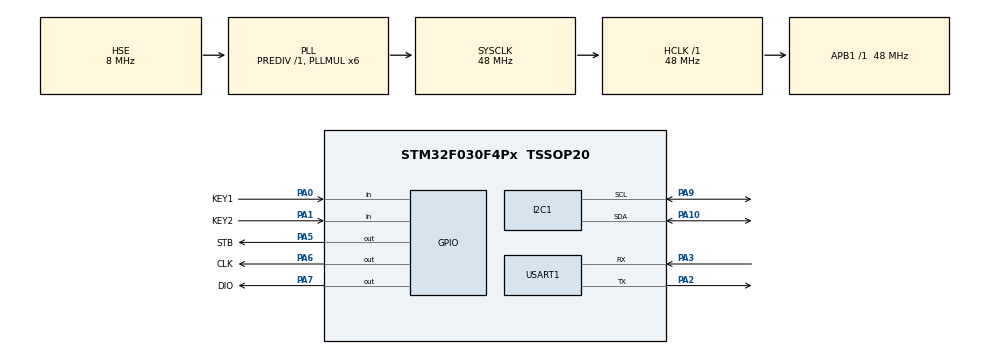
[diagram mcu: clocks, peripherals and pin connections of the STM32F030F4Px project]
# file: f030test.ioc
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Mcu.Family=STM32F0
Mcu.Name=STM32F030F4Px
Mcu.Package=TSSOP20
PA0.GPIO_Label=KEY1
PA0.GPIO_PuPd=GPIO_PULLUP
PA0.Signal=GPIO_Input
PA1.GPIO_Label=KEY2
PA1.GPIO_PuPd=GPIO_PULLUP
PA1.Signal=GPIO_Input
PA10.Mode=I2C
PA10.Signal=I2C1_SDA
PA13.Mode=Serial_Wire
PA13.Signal=SYS_SWDIO
PA14.Mode=Serial_Wire
PA14.Signal=SYS_SWCLK
PA2.Mode=Asynchronous
PA2.Signal=USART1_TX
PA3.Mode=Asynchronous
PA3.Signal=USART1_RX
PA5.GPIO_Label=STB
PA5.Signal=GPIO_Output
PA6.GPIO_Label=CLK
PA6.Signal=GPIO_Output
PA7.GPIO_Label=DIO
PA7.Signal=GPIO_Output
PA9.Mode=I2C
PA9.Signal=I2C1_SCL
PF0-OSC_IN.Mode=HSE-External-Oscillator
PF0-OSC_IN.Signal=RCC_OSC_IN
PF1-OSC_OUT.Mode=HSE-External-Oscillator
PF1-OSC_OUT.Signal=RCC_OSC_OUT
ProjectManager.HeapSize=0x200
ProjectManager.StackSize=0x400
ProjectManager.TargetToolchain=MDK-ARM V5.27
RCC.AHBFreq_Value=48000000
RCC.APB1Freq_Value=48000000
RCC.APB1TimFreq_Value=48000000
RCC.HCLKFreq_Value=48000000
RCC.PLLMUL=RCC_PLL_MUL6
RCC.PLLSourceVirtual=RCC_PLLSOURCE_HSE
RCC.SYSCLKFreq_VALUE=48000000
RCC.SYSCLKSource=RCC_SYSCLKSOURCE_PLLCLK
USART1.VirtualMode-Asynchronous=VM_ASYNC
board=custom

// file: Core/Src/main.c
/* USER CODE BEGIN Header */
/**
  ******************************************************************************
  * @file           : main.c
  * @brief          : Main program body
  ******************************************************************************
  * @attention
  *
  * <h2><center>&copy; Copyright (c) 2021 STMicroelectronics.
  * All rights reserved.</center></h2>
  *
  * This software component is licensed by ST under BSD 3-Clause license,
  * the "License"; You may not use this file except in compliance with the
  * License. You may obtain a copy of the License at:
  *                        opensource.org/licenses/BSD-3-Clause
  *
  ******************************************************************************
  */
/* USER CODE END Header */
#include "main.h"
#include "i2c.h"
#include "usart.h"
#include "gpio.h"

/* USER CODE BEGIN Includes */
#include "stdio.h"
#include "TM1620.h"
#include "multi_button.h"
#include "delay.h"
/* USER CODE END Includes */

/* USER CODE BEGIN PM */
int numb = 0;
/* USER CODE END PM */

/* USER CODE BEGIN PV */
int fputc(int ch, FILE *f)
{
	/* 发送一个字节数据 */
	HAL_UART_Transmit(&huart1,(uint8_t *)&ch,1,0xffff);
	return ch;
}
/* USER CODE END PV */

void SystemClock_Config(void);
/* USER CODE BEGIN PFP */
unsigned char buffer[2];
char array[4];
unsigned char volume = 4;
unsigned char page[3];
/* USER CODE END PFP */

/* USER CODE BEGIN 0 */
void Set_Fre(uint32_t fre)  //88MHz~108MHz  200KHz步进
{
	uint16_t i;
	buffer[0]=0xf0;
	buffer[1]=0x09;
	if(HAL_I2C_Mem_Write(&hi2c1, 0x22, 0x02,I2C_MEMADD_SIZE_8BIT, buffer, 2, 20)==HAL_OK)
	{
	}
//	HAL_Delay(10);
	if((fre>=8700)&&(fre<=10800))
	{
		i = (fre -8700) /10;
		i = (i<<6)|0x10;
		buffer[0]=(i>>8);
		buffer[1]=i&0xff;
		HAL_I2C_Mem_Write(&hi2c1, 0x22, 0x03,I2C_MEMADD_SIZE_8BIT, buffer, 2, 20);
	}
	else
	{
		buffer[0]=0x00;
		buffer[1]=0x10;
		HAL_I2C_Mem_Write(&hi2c1, 0x22, 0x03,I2C_MEMADD_SIZE_8BIT, buffer, 2, 20);
	}

	buffer[0]=0x90;
	buffer[1]=0x80+volume-1;
	if(HAL_I2C_Mem_Write(&hi2c1, 0x22, 0x05,I2C_MEMADD_SIZE_8BIT, buffer, 2, 20)==HAL_OK)
	{

	}
}

void setvolume(unsigned char i)
{
	buffer[0]=0x90;
	buffer[1]=0x80+i-1;
	if(HAL_I2C_Mem_Write(&hi2c1, 0x22, 0x05,I2C_MEMADD_SIZE_8BIT, buffer, 2, 20)==HAL_OK)
	{

	}
}

void seekup()
{
	buffer[0]=0xC3;
	buffer[1]=0x09;
	HAL_I2C_Mem_Write(&hi2c1, 0x22, 0x02,I2C_MEMADD_SIZE_8BIT, buffer, 2, 20);
	HAL_Delay(5);
	buffer[0]=0xC2;
	buffer[1]=0x09;
	HAL_I2C_Mem_Write(&hi2c1, 0x22, 0x02,I2C_MEMADD_SIZE_8BIT, buffer, 2, 20);
	HAL_Delay(5);
}

void seekdown()
{
	buffer[0]=0xC1;
	buffer[1]=0x09;
	HAL_I2C_Mem_Write(&hi2c1, 0x22, 0x02,I2C_MEMADD_SIZE_8BIT, buffer, 2, 20);
	HAL_Delay(5);
	buffer[0]=0xC0;
	buffer[1]=0x09;
	HAL_I2C_Mem_Write(&hi2c1, 0x22, 0x02,I2C_MEMADD_SIZE_8BIT, buffer, 2, 20);
	HAL_Delay(5);
}

void setMono(unsigned char i)
{
	if(i==1)
	{
		buffer[0]=0xE2;
		buffer[1]=0x09;
		HAL_I2C_Mem_Write(&hi2c1, 0x22, 0x02,I2C_MEMADD_SIZE_8BIT, buffer, 2, 20);
	}
	else
	{
		buffer[0]=0xC2;
		buffer[1]=0x09;
		HAL_I2C_Mem_Write(&hi2c1, 0x22, 0x02,I2C_MEMADD_SIZE_8BIT, buffer, 2, 20);
	}
}

Button button1,button2;  //按钮控件

uint8_t read_button1_GPIO()
{
	return HAL_GPIO_ReadPin(KEY1_GPIO_Port, KEY1_Pin);
}

uint8_t read_button2_GPIO()
{
	return HAL_GPIO_ReadPin(KEY2_GPIO_Port, KEY2_Pin);
}

void BTN1_SINGLE_CLICK_Handler(void* btn)
{
	if(page[0] == 1)
	{
	  numb--;
	  if((numb<0))
	  {
		  numb = 210;
	  }
	  TM1620_Display(870+numb);
	  Set_Fre(8700+numb*10);
  }
	if(page[0] == 2)
	{
		volume--;
		if(volume <1)
		{
			volume =16;
		}
		TM1620_Display(volume);
		setvolume(volume);
	}
//	  printf("PRESS_UP");
	//do something...
}

void BTN1_DOUBLE_CLICK_Handler(void* btn)
{
//	printf("PRESS_UP");
	//do something...
	if(page[0] == 1)
	{
		page[0] = 2;
		TM1620_Display(volume);
	}
	else if(page[0] ==2)
	{
		page[0] = 1;
		TM1620_Display(870+numb);
	}
}

void BTN1_LONG_PRESS_HOLD_Handler(void* btn)
{
	delay_ms(60);
	if(page[0] == 1)
	{
		numb--;
		if((numb<0))
			{
				numb = 210;
			}
			TM1620_Display(870+numb);
			Set_Fre(8700+numb*10);
	}
	//do something...
}

void BTN2_SINGLE_CLICK_Handler(void* btn)
{
	if(page[0] == 1)
	{
		  numb++;
		  if((numb>210))
		  {
			  numb = 0;
		  }
		  TM1620_Display(870+numb);
		  Set_Fre(8700+numb*10);
	  }
			if(page[0] == 2)
	{
		volume++;
		if(volume >16)
		{
			volume = 1;
		}
		TM1620_Display(volume);
		setvolume(volume);
	}
	//do something...
}

void BTN2_DOUBLE_CLICK_Handler(void* btn)
{
//	printf("PRESS_UP");
	//do something...
}

void BTN2_LONG_PRESS_HOLD_Handler(void* btn)
{
	delay_ms(60);
	if(page[0] == 1)
	{
	  numb++;
	  if((numb>210))
	  {
		  numb = 0;
	  }
	  TM1620_Display(870+numb);
	  Set_Fre(8700+numb*10);
	//do something...
	 }

}

void Key_init()
{
	//全部初始化才能button_start
	button_init(&button1, read_button1_GPIO, 0);//低电平触发
	button_init(&button2, read_button2_GPIO, 0);//低电平触发

//	button_attach(&button1, PRESS_DOWN,       btn1_callback);
//	button_attach(&button1, PRESS_UP,         btn1_callback);
//	button_attach(&button1, PRESS_REPEAT,     btn1_callback);
	button_attach(&button1, SINGLE_CLICK,     BTN1_SINGLE_CLICK_Handler);
	button_attach(&button1, DOUBLE_CLICK,     BTN1_DOUBLE_CLICK_Handler);
//	button_attach(&button1, LONG_PRESS_START, btn1_callback);
	button_attach(&button1, LONG_PRESS_HOLD,  BTN1_LONG_PRESS_HOLD_Handler);

//	button_attach(&button2, PRESS_DOWN,       btn2_callback);
//	button_attach(&button2, PRESS_UP,         btn2_callback);
//	button_attach(&button2, PRESS_REPEAT,     btn2_callback);
	button_attach(&button2, SINGLE_CLICK,     BTN2_SINGLE_CLICK_Handler);
	button_attach(&button2, DOUBLE_CLICK,     BTN2_DOUBLE_CLICK_Handler);
//	button_attach(&button2, LONG_PRESS_START, btn2_callback);
	button_attach(&button2, LONG_PRESS_HOLD,  BTN2_LONG_PRESS_HOLD_Handler);

	button_start(&button1);
	button_start(&button2);

}
/* USER CODE END 0 */

int main(void)
{

  /* MCU Configuration--------------------------------------------------------*/

  /* Reset of all peripherals, Initializes the Flash interface and the Systick. */
  HAL_Init();

  /* Configure the system clock */
  SystemClock_Config();

  /* Initialize all configured peripherals */
  MX_GPIO_Init();
  MX_USART1_UART_Init();
  MX_I2C1_Init();
  /* USER CODE BEGIN 2 */
  TM1620_Init();
  setMono(1);
  Set_Fre(8700+numb*10);
  array[0] = (8700+numb)/1000;
  array[1] = ((8700+numb)%1000)/100;
  array[2] = ((8700+numb)%1000)/100;
  array[3] = (8700+numb)%10;
  page[0] = 1;
  TM1620_Display(870+numb);
  Key_init();
  delay_init(48);
  /* USER CODE END 2 */

  /* Infinite loop */
  while (1)
  {

    /* USER CODE BEGIN 3 */
//	  if((HAL_GPIO_ReadPin(KEY1_GPIO_Port,KEY1_Pin)==GPIO_PIN_RESET)||(HAL_GPIO_ReadPin(KEY2_GPIO_Port,KEY2_Pin)==GPIO_PIN_RESET))
//	  {
//		  HAL_Delay(10);
//		  {
//			  if(HAL_GPIO_ReadPin(KEY1_GPIO_Port,KEY1_Pin)==GPIO_PIN_RESET)
//			  {
//				  numb--;
//				  if((numb<0))
//				  {
//					  numb = 210;
//				  }
//				  TM1620_Display(870+numb);
//				  Set_Fre(8700+numb*10);
//			  }
//			  else if(HAL_GPIO_ReadPin(KEY2_GPIO_Port,KEY2_Pin)==GPIO_PIN_RESET)
//			  {
//				  numb++;
//				  if((numb>210))
//				  {
//					  numb = 0;
//				  }
//				  TM1620_Display(870+numb);
//				  Set_Fre(8700+numb*10);
//			  }
//		  }
//	  }

  }
  /* USER CODE END 3 */
}

void SystemClock_Config(void)
{
  RCC_OscInitTypeDef RCC_OscInitStruct = {0};
  RCC_ClkInitTypeDef RCC_ClkInitStruct = {0};
  RCC_PeriphCLKInitTypeDef PeriphClkInit = {0};

  /** Initializes the RCC Oscillators according to the specified parameters
  * in the RCC_OscInitTypeDef structure.
  */
  RCC_OscInitStruct.OscillatorType = RCC_OSCILLATORTYPE_HSI|RCC_OSCILLATORTYPE_HSE;
  RCC_OscInitStruct.HSEState = RCC_HSE_ON;
  RCC_OscInitStruct.HSIState = RCC_HSI_ON;
  RCC_OscInitStruct.HSICalibrationValue = RCC_HSICALIBRATION_DEFAULT;
  RCC_OscInitStruct.PLL.PLLState = RCC_PLL_ON;
  RCC_OscInitStruct.PLL.PLLSource = RCC_PLLSOURCE_HSE;
  RCC_OscInitStruct.PLL.PLLMUL = RCC_PLL_MUL6;
  RCC_OscInitStruct.PLL.PREDIV = RCC_PREDIV_DIV1;
  if (HAL_RCC_OscConfig(&RCC_OscInitStruct) != HAL_OK)
  {
    Error_Handler();
  }
  /** Initializes the CPU, AHB and APB buses clocks
  */
  RCC_ClkInitStruct.ClockType = RCC_CLOCKTYPE_HCLK|RCC_CLOCKTYPE_SYSCLK
                              |RCC_CLOCKTYPE_PCLK1;
  RCC_ClkInitStruct.SYSCLKSource = RCC_SYSCLKSOURCE_PLLCLK;
  RCC_ClkInitStruct.AHBCLKDivider = RCC_SYSCLK_DIV1;
  RCC_ClkInitStruct.APB1CLKDivider = RCC_HCLK_DIV1;

  if (HAL_RCC_ClockConfig(&RCC_ClkInitStruct, FLASH_LATENCY_1) != HAL_OK)
  {
    Error_Handler();
  }
  PeriphClkInit.PeriphClockSelection = RCC_PERIPHCLK_USART1|RCC_PERIPHCLK_I2C1;
  PeriphClkInit.Usart1ClockSelection = RCC_USART1CLKSOURCE_PCLK1;
  PeriphClkInit.I2c1ClockSelection = RCC_I2C1CLKSOURCE_HSI;
  if (HAL_RCCEx_PeriphCLKConfig(&PeriphClkInit) != HAL_OK)
  {
    Error_Handler();
  }
}

void Error_Handler(void)
{
  __disable_irq();
  while (1)
  {
  }
}

/************************ (C) COPYRIGHT STMicroelectronics *****END OF FILE****/
